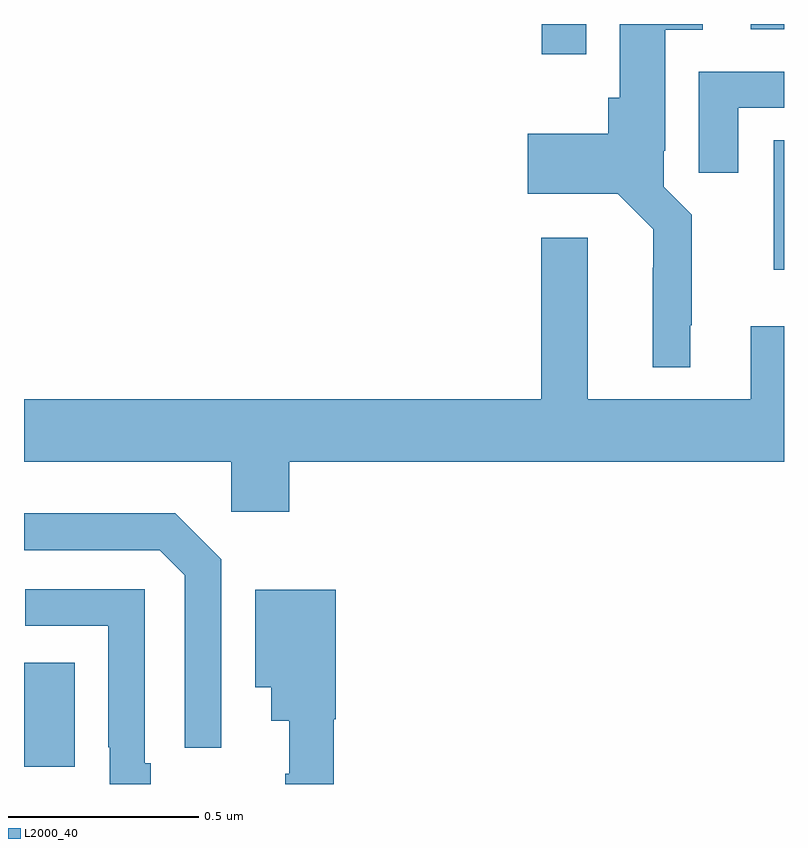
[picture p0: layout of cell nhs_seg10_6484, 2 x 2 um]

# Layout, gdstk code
import gdstk
lib = gdstk.Library(unit=1e-6, precision=1e-09)
def R(c, l, rs):  # rectangles x0, y0, x1, y1
    for r in rs: c.add(gdstk.rectangle(r[:2], r[2:], *l))
def P(c, l, *ps):  # polygons
    for p in ps: c.add(gdstk.Polygon(p, *l))
L2000_40 = (2000, 40)

nhs_seg10_6484 = lib.new_cell('nhs_seg10_6484')
R(nhs_seg10_6484, L2000_40, [(192,1267.545,192.133,1267.819), (193.973,1268.853,194,1269.194), (193.363,1269.42,193.479,1269.5), (193.913,1269.486,194,1269.5)])
P(nhs_seg10_6484, L2000_40, [(193.753,1268.707),(193.757,1268.707),(193.757,1268.998),(193.683,1269.072),(193.683,1269.166),(193.687,1269.166),(193.687,1269.485),(193.786,1269.485),(193.786,1269.5),(193.568,1269.5),(193.568,1269.306),(193.538,1269.306),(193.538,1269.211),(193.326,1269.211),(193.326,1269.053),(193.563,1269.053),(193.656,1268.96),(193.656,1268.858),(193.655,1268.858),(193.655,1268.597),(193.753,1268.597)],
  [(193.879,1269.279),(194,1269.279),(194,1269.375),(193.775,1269.375),(193.775,1269.108),(193.879,1269.108)],
  [(192.698,1268.348),(194,1268.348),(194,1268.704),(193.913,1268.704),(193.913,1268.512),(193.483,1268.512),(193.483,1268.938),(193.361,1268.938),(193.361,1268.512),(192,1268.512),(192,1268.348),(192.546,1268.348),(192.546,1268.217),(192.698,1268.217)],
  [(192.519,1268.091),(192.398,1268.212),(192,1268.212),(192,1268.115),(192.357,1268.115),(192.423,1268.049),(192.423,1267.596),(192.519,1267.596)],
  [(192.333,1267.555),(192.318,1267.555),(192.318,1268.013),(192.003,1268.013),(192.003,1267.917),(192.222,1267.917),(192.222,1267.597),(192.225,1267.597),(192.225,1267.5),(192.333,1267.5)],
  [(192.815,1267.671),(192.821,1267.671),(192.821,1268.011),(192.608,1268.011),(192.608,1267.754),(192.65,1267.754),(192.65,1267.667),(192.698,1267.667),(192.698,1267.527),(192.687,1267.527),(192.687,1267.5),(192.815,1267.5)])

lib.write_gds('nhs_seg10_6484.gds')
